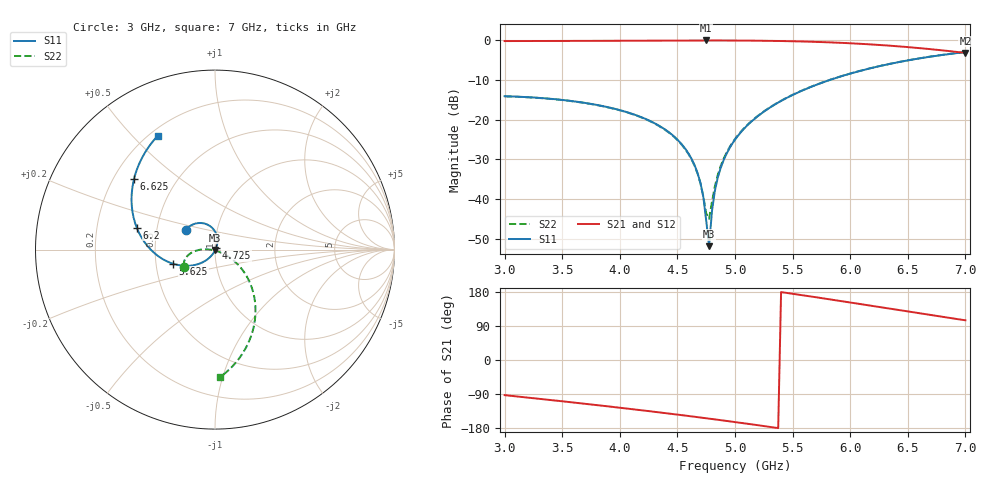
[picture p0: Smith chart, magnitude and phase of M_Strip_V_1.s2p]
! Created Thu May  9 23:40:26 2024
# hz S ma R 50
! 2 Port Network Data from SP1.SP block
! freq  magS11  angS11  magS21  angS21  magS12  angS12  magS22  angS22
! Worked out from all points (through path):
!   161 points, 3 GHz to 7 GHz, reference 50 ohm
!   highest |S21| = -0.04 dB at 4.75 GHz (marker M1); lowest = -3.2 dB at 7 GHz (marker M2)
!   lowest |S11| = -51.9 dB at 4.775 GHz (marker M3), VSWR 1.01, Z = 50.2 - j0.18 ohm
!   |S11| at or under -10 dB: start of sweep to 5.823 GHz
!   |S22| runs from -45.0 to -3.0 dB; largest |S21 - S12| = 0
!   S11 on the Smith chart (normalised r, x): 3 GHz: 0.70, +0.16; 4.725 GHz: 1.01, +0.02; 5.625 GHz: 0.61, -0.10; 6.2 GHz: 0.38, +0.12; 6.625 GHz: 0.28, +0.35; 7 GHz: 0.23, +0.59
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3e9  0.1974 145.6  0.9777 -92.7  0.9777 -92.7  0.1968 -151.3
3.675e9  0.1645 116.1  0.9832 -114.8  0.9832 -114.8  0.1638 -165.6
4.075e9  0.1226 97.6  0.9888 -128.6  0.9888 -128.6  0.1218 -174.2
4.35e9  0.08232 84.0  0.9926 -138.5  0.9926 -138.5  0.08157 -179.7
4.5e9  0.056 75.9  0.9942 -144.1  0.9942 -144.1  0.05531 178.3
4.6e9  0.03668 69.6  0.995 -147.9  0.995 -147.9  0.03608 178.6
4.675e9  0.02125 63.1  0.9953 -150.8  0.9953 -150.8  0.02089 -177.1
4.725e9  0.0106 54.0  0.9954 -152.7  0.9954 -152.7  0.0108 -163.7
4.75e9  0.005353 39.2  0.9954 -153.7  0.9954 -153.7  0.006582 -139.8
4.775e9  0.00254 -45.0  0.9954 -154.7  0.9954 -154.7  0.005622 -86.2
4.8e9  0.006995 -96.8  0.9953 -155.7  0.9953 -155.7  0.009209 -50.7
4.825e9  0.01262 -107.2  0.9952 -156.7  0.9952 -156.7  0.01436 -37.8
4.85e9  0.01847 -111.9  0.9951 -157.7  0.9951 -157.7  0.01998 -32.2
4.925e9  0.03671 -119.6  0.9944 -160.7  0.9944 -160.7  0.03796 -26.9
5e9  0.05587 -124.8  0.9934 -163.8  0.9934 -163.8  0.05702 -26.4
5.25e9  0.1258 -139.7  0.9865 -174.3  0.9865 -174.3  0.1269 -30.9
5.625e9  0.2466 -161.4  0.9627 169.2  0.9627 169.2  0.2477 -41.6
5.675e9  0.2639 -164.3  0.9581 166.9  0.9581 166.9  0.265 -43.2
6.2e9  0.4527 164.4  0.8838 142.3  0.8838 142.3  0.4539 -60.7
6.35e9  0.5062 155.3  0.8541 135.2  0.8541 135.2  0.5075 -65.9
6.625e9  0.5994 138.8  0.7913 122.1  0.7913 122.1  0.6008 -75.4
7e9  0.71 116.7  0.6937 104.8  0.6937 104.8  0.7117 -87.8
